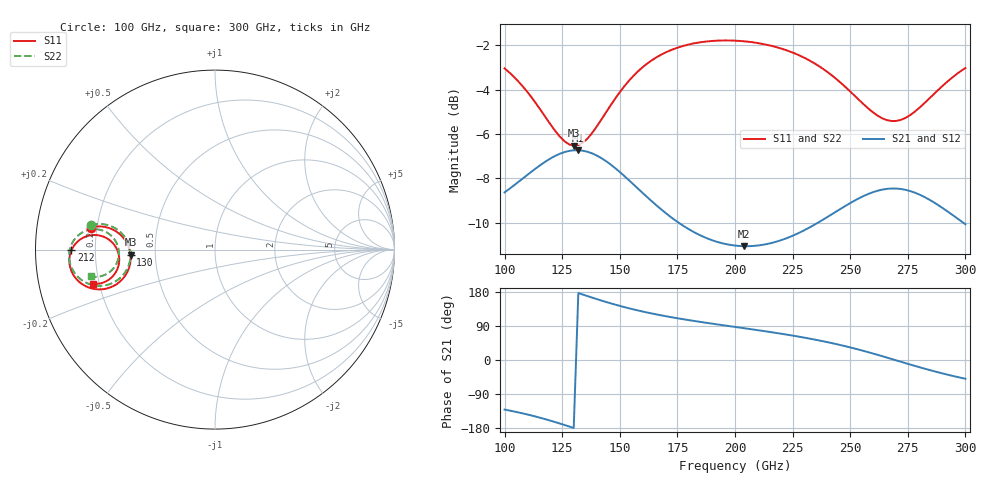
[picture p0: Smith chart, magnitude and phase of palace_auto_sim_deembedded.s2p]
! Created with skrf 1.11.0 (http://scikit-rf.org).
# GHz S DB R 50.0
!freq dBS11 angS11 dBS21 angS21 dBS12 angS12 dBS22 angS22
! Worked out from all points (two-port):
!   101 points, 100 GHz to 300 GHz, reference 50 ohm
!   highest |S21| = -6.73 dB at 132 GHz (marker M1); lowest = -11.1 dB at 204 GHz (marker M2)
!   |S21| within 3 dB of the highest: start of sweep to 172 GHz; 240.2 GHz to 295.5 GHz (55.3 GHz wide, 20.6 % of centre)
!   lowest |S11| = -6.5 dB at 130 GHz (marker M3), VSWR 2.79, Z = 18 - j1.34 ohm
!   |S11| at or under -10 dB: nowhere
!   |S22| runs from -6.5 to -1.8 dB; largest |S21 - S12| = 5e-14
!   S11 on the Smith chart (normalised r, x): 100 GHz: 0.17, +0.09; 130 GHz: 0.36, -0.03; 212 GHz: 0.11, -0.00; 300 GHz: 0.18, -0.13
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100  -3.04 170.0  -8.63 -130.8  -8.63 -130.8  -3.05 168.8
108  -3.87 168.4  -8.00 -141.1  -8.00 -141.1  -3.87 167.2
116  -4.98 169.4  -7.37 -153.4  -7.37 -153.4  -4.98 168.1
124  -6.12 175.4  -6.89 -167.7  -6.89 -167.7  -6.12 173.9
130  -6.53 -176.5  -6.73 -179.4  -6.73 -179.4  -6.53 -178.0
132  -6.50 -173.5  -6.73 176.6  -6.73 176.6  -6.51 -175.0
134  -6.39 -170.6  -6.75 172.6  -6.75 172.6  -6.39 -172.1
142  -5.35 -162.4  -7.09 156.9  -7.09 156.9  -5.35 -164.0
150  -4.11 -160.1  -7.71 142.8  -7.71 142.8  -4.12 -161.8
158  -3.17 -161.4  -8.47 130.6  -8.47 130.6  -3.17 -163.2
168  -2.42 -164.8  -9.40 117.8  -9.40 117.8  -2.43 -166.7
184  -1.88 -170.6  -10.52 101.4  -10.52 101.4  -1.89 -172.7
200  -1.80 -176.0  -11.03 87.3  -11.03 87.3  -1.80 -178.3
204  -1.82 -177.3  -11.05 83.8  -11.05 83.8  -1.83 -179.6
212  -1.94 -179.7  -10.99 76.8  -10.99 76.8  -1.94 177.9
234  -2.79 174.3  -10.12 54.6  -10.12 54.6  -2.79 171.7
244  -3.53 173.0  -9.49 41.9  -9.49 41.9  -3.53 170.2
252  -4.28 173.8  -9.00 30.1  -9.00 30.1  -4.28 171.0
268  -5.42 -176.0  -8.46 2.6  -8.46 2.6  -5.42 -179.0
276  -5.15 -169.0  -8.57 -11.9  -8.57 -11.9  -5.15 -172.2
284  -4.43 -164.7  -8.94 -25.7  -8.94 -25.7  -4.44 -168.0
300  -3.02 -164.3  -10.06 -49.5  -10.06 -49.5  -3.03 -167.7
